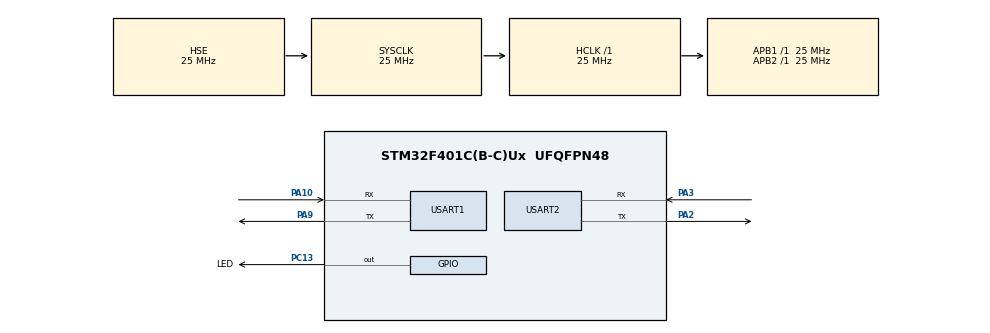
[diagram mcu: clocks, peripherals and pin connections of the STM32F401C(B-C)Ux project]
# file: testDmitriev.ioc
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Dma.Request0=USART1_RX
Dma.Request1=USART1_TX
Dma.Request2=USART2_RX
Dma.Request3=USART2_TX
Dma.USART1_RX.0.Direction=DMA_PERIPH_TO_MEMORY
Dma.USART1_RX.0.FIFOMode=DMA_FIFOMODE_DISABLE
Dma.USART1_RX.0.Instance=DMA2_Stream2
Dma.USART1_RX.0.MemDataAlignment=DMA_MDATAALIGN_BYTE
Dma.USART1_RX.0.MemInc=DMA_MINC_ENABLE
Dma.USART1_RX.0.Mode=DMA_CIRCULAR
Dma.USART1_RX.0.PeriphDataAlignment=DMA_PDATAALIGN_BYTE
Dma.USART1_RX.0.PeriphInc=DMA_PINC_DISABLE
Dma.USART1_RX.0.Priority=DMA_PRIORITY_LOW
Dma.USART1_TX.1.Direction=DMA_MEMORY_TO_PERIPH
Dma.USART1_TX.1.FIFOMode=DMA_FIFOMODE_DISABLE
Dma.USART1_TX.1.Instance=DMA2_Stream7
Dma.USART1_TX.1.MemDataAlignment=DMA_MDATAALIGN_BYTE
Dma.USART1_TX.1.MemInc=DMA_MINC_ENABLE
Dma.USART1_TX.1.Mode=DMA_NORMAL
Dma.USART1_TX.1.PeriphDataAlignment=DMA_PDATAALIGN_BYTE
Dma.USART1_TX.1.PeriphInc=DMA_PINC_DISABLE
Dma.USART1_TX.1.Priority=DMA_PRIORITY_LOW
Dma.USART2_RX.2.Direction=DMA_PERIPH_TO_MEMORY
Dma.USART2_RX.2.FIFOMode=DMA_FIFOMODE_DISABLE
Dma.USART2_RX.2.Instance=DMA1_Stream5
Dma.USART2_RX.2.MemDataAlignment=DMA_MDATAALIGN_BYTE
Dma.USART2_RX.2.MemInc=DMA_MINC_ENABLE
Dma.USART2_RX.2.Mode=DMA_CIRCULAR
Dma.USART2_RX.2.PeriphDataAlignment=DMA_PDATAALIGN_BYTE
Dma.USART2_RX.2.PeriphInc=DMA_PINC_DISABLE
Dma.USART2_RX.2.Priority=DMA_PRIORITY_LOW
Dma.USART2_TX.3.Direction=DMA_MEMORY_TO_PERIPH
Dma.USART2_TX.3.FIFOMode=DMA_FIFOMODE_DISABLE
Dma.USART2_TX.3.Instance=DMA1_Stream6
Dma.USART2_TX.3.MemDataAlignment=DMA_MDATAALIGN_BYTE
Dma.USART2_TX.3.MemInc=DMA_MINC_ENABLE
Dma.USART2_TX.3.Mode=DMA_NORMAL
Dma.USART2_TX.3.PeriphDataAlignment=DMA_PDATAALIGN_BYTE
Dma.USART2_TX.3.PeriphInc=DMA_PINC_DISABLE
Dma.USART2_TX.3.Priority=DMA_PRIORITY_LOW
Mcu.Family=STM32F4
Mcu.Name=STM32F401C(B-C)Ux
Mcu.Package=UFQFPN48
NVIC.DMA1_Stream5_IRQn=true\:0\:0\:false\:false\:true\:false\:true\:true
NVIC.DMA1_Stream6_IRQn=true\:0\:0\:false\:false\:true\:false\:true\:true
NVIC.DMA2_Stream2_IRQn=true\:0\:0\:false\:false\:true\:false\:true\:true
NVIC.DMA2_Stream7_IRQn=true\:0\:0\:false\:false\:true\:false\:true\:true
NVIC.PriorityGroup=NVIC_PRIORITYGROUP_4
NVIC.TIM1_UP_TIM10_IRQn=true\:0\:0\:false\:false\:true\:true\:true\:true
NVIC.USART1_IRQn=true\:0\:0\:false\:false\:true\:true\:true\:true
NVIC.USART2_IRQn=true\:0\:0\:false\:false\:true\:true\:true\:true
PA10.Mode=Asynchronous
PA10.Signal=USART1_RX
PA13.Mode=Serial_Wire
PA13.Signal=SYS_JTMS-SWDIO
PA14.Mode=Serial_Wire
PA14.Signal=SYS_JTCK-SWCLK
PA2.Mode=Asynchronous
PA2.Signal=USART2_TX
PA3.Mode=Asynchronous
PA3.Signal=USART2_RX
PA9.Mode=Asynchronous
PA9.Signal=USART1_TX
PC13-ANTI_TAMP.GPIO_Label=LED
PC13-ANTI_TAMP.PinState=GPIO_PIN_SET
PC13-ANTI_TAMP.Signal=GPIO_Output
PH0\ -\ OSC_IN.Mode=HSE-External-Oscillator
PH0\ -\ OSC_IN.Signal=RCC_OSC_IN
PH1\ -\ OSC_OUT.Mode=HSE-External-Oscillator
PH1\ -\ OSC_OUT.Signal=RCC_OSC_OUT
ProjectManager.HeapSize=0x200
ProjectManager.StackSize=0x400
ProjectManager.TargetToolchain=MDK-ARM V5.32
RCC.48MHZClocksFreq_Value=75000000
RCC.AHBFreq_Value=25000000
RCC.APB1Freq_Value=25000000
RCC.APB1TimFreq_Value=25000000
RCC.APB2Freq_Value=25000000
RCC.APB2TimFreq_Value=25000000
RCC.CortexFreq_Value=25000000
RCC.HCLKFreq_Value=25000000
RCC.HSE_VALUE=25000000
RCC.HSI_VALUE=16000000
RCC.LSE_VALUE=32768
RCC.PLLSourceVirtual=RCC_PLLSOURCE_HSE
RCC.SYSCLKFreq_VALUE=25000000
RCC.SYSCLKSource=RCC_SYSCLKSOURCE_HSE
RCC.VCOOutputFreq_Value=300000000
TIM1.Period=49999
TIM1.Prescaler=249
USART1.VirtualMode=VM_ASYNC
USART2.VirtualMode=VM_ASYNC
VP_TIM1_VS_ClockSourceINT.Mode=Internal
board=custom

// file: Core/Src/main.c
/* USER CODE BEGIN Header */
/**
  ******************************************************************************
  * @file           : main.c
  * @brief          : Main program body
  ******************************************************************************
  * @attention
  *
  * Copyright (c) 2024 STMicroelectronics.
  * All rights reserved.
  *
  * This software is licensed under terms that can be found in the LICENSE file
  * in the root directory of this software component.
  * If no LICENSE file comes with this software, it is provided AS-IS.
  *
  ******************************************************************************
  */
/* USER CODE END Header */
#include "main.h"

/* USER CODE BEGIN Includes */
#include "type.h"
#include "stdio.h"
#include "functions.h"
/* USER CODE END Includes */

TIM_HandleTypeDef htim1;

UART_HandleTypeDef huart1;
UART_HandleTypeDef huart2;
DMA_HandleTypeDef hdma_usart1_rx;
DMA_HandleTypeDef hdma_usart1_tx;
DMA_HandleTypeDef hdma_usart2_rx;
DMA_HandleTypeDef hdma_usart2_tx;

void SystemClock_Config(void);
static void MX_GPIO_Init(void);
static void MX_DMA_Init(void);
static void MX_USART1_UART_Init(void);
static void MX_USART2_UART_Init(void);
static void MX_TIM1_Init(void);

/* USER CODE BEGIN 0 */
	int counter = 0;
	unionUART_t unionUART;
	unionUART_t unionUARTtx;
	unionReceipt_t unionReceipt;

	CircBuf_t txMaster;
	CircBuf_t rxMaster;

	CircBuf_t txSlave = {0};
	CircBuf_t rxSlave = {0};

	uint32_t sysTime = 0;
	uint32_t current_time = 0;

	uint8_t flagTransmit =0;

/* USER CODE END 0 */

int main(void)
{
  /* USER CODE BEGIN 1 */
	uint8_t operationMode = MASTER;
  /* USER CODE END 1 */

  /* MCU Configuration--------------------------------------------------------*/

  /* Reset of all peripherals, Initializes the Flash interface and the Systick. */
  HAL_Init();

  /* Configure the system clock */
  SystemClock_Config();

  /* Initialize all configured peripherals */
  MX_GPIO_Init();
  MX_DMA_Init();
  MX_USART1_UART_Init();
  MX_USART2_UART_Init();
  MX_TIM1_Init();
  /* USER CODE BEGIN 2 */

	HAL_TIM_Base_Start_IT(&htim1);
	HAL_UART_Receive_DMA(&huart1,rxSlave.buffer, BUFFER_SIZE);
	HAL_UART_Receive_DMA(&huart2,rxMaster.buffer, BUFFER_SIZE);

  /* USER CODE END 2 */

  /* Infinite loop */
  /* USER CODE BEGIN WHILE */
  while (1)
  {
		//HAL_Delay(1000);

		if(flagTransmit)
		{
			creatingData(&unionUARTtx, SIZE_DATA);
			SendMessageMaster(&unionUARTtx);
			flagTransmit = 0;
			operationMode = SLAVE;
		}

		if(operationMode == SLAVE)
		{
			dataProcessingSlave();
			operationMode = MASTER;
		}

		if(operationMode == MASTER)
		{
			current_time = TIM1->CNT;
			HAL_Delay(250);
			//if(sysTime -  current_time >= (TIM1->ARR / 2))
			//{
				dataProcessingMaster();
				operationMode = SLAVE;
			//}
		}

	}
    /* USER CODE END WHILE */

}

void SystemClock_Config(void)
{
  RCC_OscInitTypeDef RCC_OscInitStruct = {0};
  RCC_ClkInitTypeDef RCC_ClkInitStruct = {0};

  /** Configure the main internal regulator output voltage
  */
  __HAL_RCC_PWR_CLK_ENABLE();
  __HAL_PWR_VOLTAGESCALING_CONFIG(PWR_REGULATOR_VOLTAGE_SCALE2);

  /** Initializes the RCC Oscillators according to the specified parameters
  * in the RCC_OscInitTypeDef structure.
  */
  RCC_OscInitStruct.OscillatorType = RCC_OSCILLATORTYPE_HSE;
  RCC_OscInitStruct.HSEState = RCC_HSE_ON;
  RCC_OscInitStruct.PLL.PLLState = RCC_PLL_NONE;
  if (HAL_RCC_OscConfig(&RCC_OscInitStruct) != HAL_OK)
  {
    Error_Handler();
  }

  /** Initializes the CPU, AHB and APB buses clocks
  */
  RCC_ClkInitStruct.ClockType = RCC_CLOCKTYPE_HCLK|RCC_CLOCKTYPE_SYSCLK
                              |RCC_CLOCKTYPE_PCLK1|RCC_CLOCKTYPE_PCLK2;
  RCC_ClkInitStruct.SYSCLKSource = RCC_SYSCLKSOURCE_HSE;
  RCC_ClkInitStruct.AHBCLKDivider = RCC_SYSCLK_DIV1;
  RCC_ClkInitStruct.APB1CLKDivider = RCC_HCLK_DIV1;
  RCC_ClkInitStruct.APB2CLKDivider = RCC_HCLK_DIV1;

  if (HAL_RCC_ClockConfig(&RCC_ClkInitStruct, FLASH_LATENCY_0) != HAL_OK)
  {
    Error_Handler();
  }
}

static void MX_TIM1_Init(void)
{

  TIM_ClockConfigTypeDef sClockSourceConfig = {0};
  TIM_MasterConfigTypeDef sMasterConfig = {0};

  htim1.Instance = TIM1;
  htim1.Init.Prescaler = 249;
  htim1.Init.CounterMode = TIM_COUNTERMODE_UP;
  htim1.Init.Period = 49999;
  htim1.Init.ClockDivision = TIM_CLOCKDIVISION_DIV1;
  htim1.Init.RepetitionCounter = 0;
  htim1.Init.AutoReloadPreload = TIM_AUTORELOAD_PRELOAD_DISABLE;
  if (HAL_TIM_Base_Init(&htim1) != HAL_OK)
  {
    Error_Handler();
  }
  sClockSourceConfig.ClockSource = TIM_CLOCKSOURCE_INTERNAL;
  if (HAL_TIM_ConfigClockSource(&htim1, &sClockSourceConfig) != HAL_OK)
  {
    Error_Handler();
  }
  sMasterConfig.MasterOutputTrigger = TIM_TRGO_RESET;
  sMasterConfig.MasterSlaveMode = TIM_MASTERSLAVEMODE_DISABLE;
  if (HAL_TIMEx_MasterConfigSynchronization(&htim1, &sMasterConfig) != HAL_OK)
  {
    Error_Handler();
  }

}

static void MX_USART1_UART_Init(void)
{

  huart1.Instance = USART1;
  huart1.Init.BaudRate = 115200;
  huart1.Init.WordLength = UART_WORDLENGTH_8B;
  huart1.Init.StopBits = UART_STOPBITS_1;
  huart1.Init.Parity = UART_PARITY_NONE;
  huart1.Init.Mode = UART_MODE_TX_RX;
  huart1.Init.HwFlowCtl = UART_HWCONTROL_NONE;
  huart1.Init.OverSampling = UART_OVERSAMPLING_16;
  if (HAL_UART_Init(&huart1) != HAL_OK)
  {
    Error_Handler();
  }

}

static void MX_USART2_UART_Init(void)
{

  huart2.Instance = USART2;
  huart2.Init.BaudRate = 115200;
  huart2.Init.WordLength = UART_WORDLENGTH_8B;
  huart2.Init.StopBits = UART_STOPBITS_1;
  huart2.Init.Parity = UART_PARITY_NONE;
  huart2.Init.Mode = UART_MODE_TX_RX;
  huart2.Init.HwFlowCtl = UART_HWCONTROL_NONE;
  huart2.Init.OverSampling = UART_OVERSAMPLING_16;
  if (HAL_UART_Init(&huart2) != HAL_OK)
  {
    Error_Handler();
  }

}

static void MX_DMA_Init(void)
{

  /* DMA controller clock enable */
  __HAL_RCC_DMA2_CLK_ENABLE();
  __HAL_RCC_DMA1_CLK_ENABLE();

  /* DMA interrupt init */
  /* DMA1_Stream5_IRQn interrupt configuration */
  HAL_NVIC_SetPriority(DMA1_Stream5_IRQn, 0, 0);
  HAL_NVIC_EnableIRQ(DMA1_Stream5_IRQn);
  /* DMA1_Stream6_IRQn interrupt configuration */
  HAL_NVIC_SetPriority(DMA1_Stream6_IRQn, 0, 0);
  HAL_NVIC_EnableIRQ(DMA1_Stream6_IRQn);
  /* DMA2_Stream2_IRQn interrupt configuration */
  HAL_NVIC_SetPriority(DMA2_Stream2_IRQn, 0, 0);
  HAL_NVIC_EnableIRQ(DMA2_Stream2_IRQn);
  /* DMA2_Stream7_IRQn interrupt configuration */
  HAL_NVIC_SetPriority(DMA2_Stream7_IRQn, 0, 0);
  HAL_NVIC_EnableIRQ(DMA2_Stream7_IRQn);

}

static void MX_GPIO_Init(void)
{
  GPIO_InitTypeDef GPIO_InitStruct = {0};

  /* GPIO Ports Clock Enable */
  __HAL_RCC_GPIOC_CLK_ENABLE();
  __HAL_RCC_GPIOH_CLK_ENABLE();
  __HAL_RCC_GPIOA_CLK_ENABLE();

  /*Configure GPIO pin Output Level */
  HAL_GPIO_WritePin(LED_GPIO_Port, LED_Pin, GPIO_PIN_SET);

  /*Configure GPIO pin : LED_Pin */
  GPIO_InitStruct.Pin = LED_Pin;
  GPIO_InitStruct.Mode = GPIO_MODE_OUTPUT_PP;
  GPIO_InitStruct.Pull = GPIO_NOPULL;
  GPIO_InitStruct.Speed = GPIO_SPEED_FREQ_LOW;
  HAL_GPIO_Init(LED_GPIO_Port, &GPIO_InitStruct);

}

/* USER CODE BEGIN 4 */

void HAL_TIM_PeriodElapsedCallback(TIM_HandleTypeDef *htim)
{
	if(htim->Instance == TIM1) //check if the interrupt comes from TIM1
		{
			flagTransmit = 1;
			sysTime = TIM1->CNT;
		}
}

/* USER CODE END 4 */

void Error_Handler(void)
{
  __disable_irq();
  while (1)
  {
  }
}
